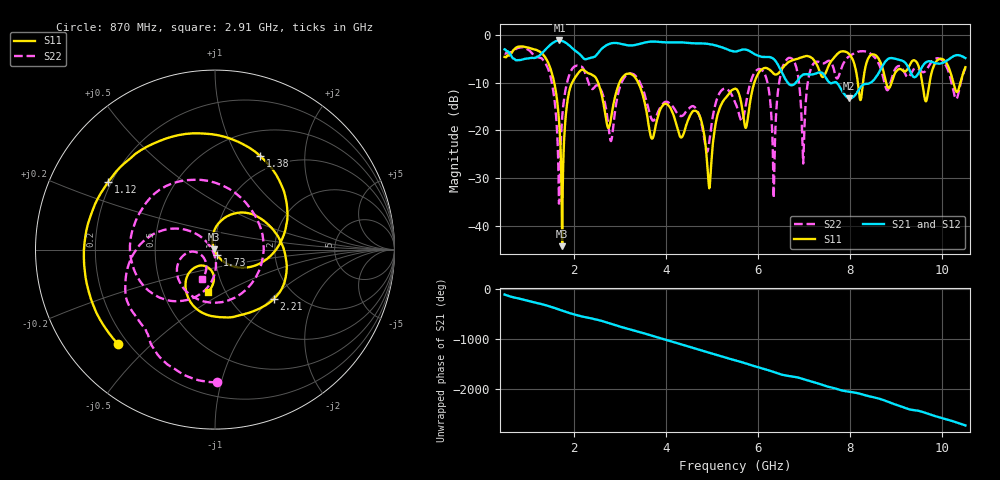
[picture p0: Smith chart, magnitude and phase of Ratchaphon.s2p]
!Agilent Technologies,N5230C,MY49000750,A.09.42.22
!Agilent N5230C: A.09.42.22
!Date: Monday, December 15, 2025 12:00:14
!Correction: S11(Full 2 Port(1,2))
!S21(Full 2 Port(1,2))
!S12(Full 2 Port(1,2))
!S22(Full 2 Port(1,2))
!S2P File: Measurements: S11, S21, S12, S22:
# Hz S  RI  R 50
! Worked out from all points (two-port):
!   1001 points, 500 MHz to 10.5 GHz, reference 50 ohm
!   highest |S21| = -1.23 dB at 1.69 GHz (marker M1); lowest = -13.3 dB at 7.98 GHz (marker M2)
!   |S21| within 3 dB of the highest: 1.273 GHz to 2.144 GHz (871.1 MHz wide, 51 % of centre); 2.497 GHz to 5.957 GHz (3.46 GHz wide, 81.8 % of centre)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
!   lowest |S11| = -44.1 dB at 1.75 GHz (marker M3), VSWR 1.01, Z = 49.4 + j0.2 ohm
!   |S11| at or under -10 dB: 1.577 GHz to 1.967 GHz (390.2 MHz wide, 22 % of centre); 2.529 GHz to 2.994 GHz (465.5 MHz wide, 16.9 % of centre); 3.399 GHz to 5.921 GHz (2.522 GHz wide, 54.1 % of centre)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
!   |S22| runs from -35.3 to -2.6 dB; largest |S21 - S12| = 0.0029
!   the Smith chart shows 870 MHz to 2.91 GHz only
!   S11 on the Smith chart (normalised r, x): 870 MHz: 0.16, -0.40; 1.12 GHz: 0.19, +0.28; 1.38 GHz: 0.80, +1.25; 1.73 GHz: 1.02, -0.07; 2.21 GHz: 1.56, -1.04; 2.91 GHz: 0.83, -0.41
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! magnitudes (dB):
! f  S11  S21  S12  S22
! 500 MHz  -4.7  -3.1  -3.1  -3.9
! 870 MHz  -2.4  -5.2  -5.2  -2.6
! 1.12 GHz  -3.0  -4.9  -4.9  -4.2
! 1.38 GHz  -4.7  -3.2  -3.2  -5.9
! 1.69 GHz  -19.2  -1.2  -1.2  -34.6
! 1.73 GHz  -29.3  -1.3  -1.3  -20.1
! 1.75 GHz  -44.1  -1.4  -1.4  -17.2
! 2.17 GHz  -7.3  -4.5  -4.5  -6.7
! 2.21 GHz  -7.4  -5.0  -5.0  -7.2
! 2.91 GHz  -12.5  -1.8  -1.8  -15.1
! 3.84 GHz  -16.7  -1.5  -1.5  -15.9
! 4.68 GHz  -16.1  -1.9  -1.9  -15.8
! 4.94 GHz  -32.1  -2.0  -2.0  -22.5
! 5.5 GHz  -11.3  -3.5  -3.5  -14.1
! 6.1 GHz  -7.1  -4.7  -4.7  -7.6
! 6.34 GHz  -8.2  -5.1  -5.1  -34.1
! 6.57 GHz  -6.5  -8.9  -8.9  -5.9
! 6.98 GHz  -4.6  -8.3  -8.4  -26.9
! 7.17 GHz  -4.9  -8.3  -8.4  -6.6
! 7.98 GHz  -4.1  -13.3  -13.3  -4.5
! 8.84 GHz  -11.2  -5.0  -5.0  -11.2
! 10.5 GHz  -6.8  -4.9  -4.9  -7.0
